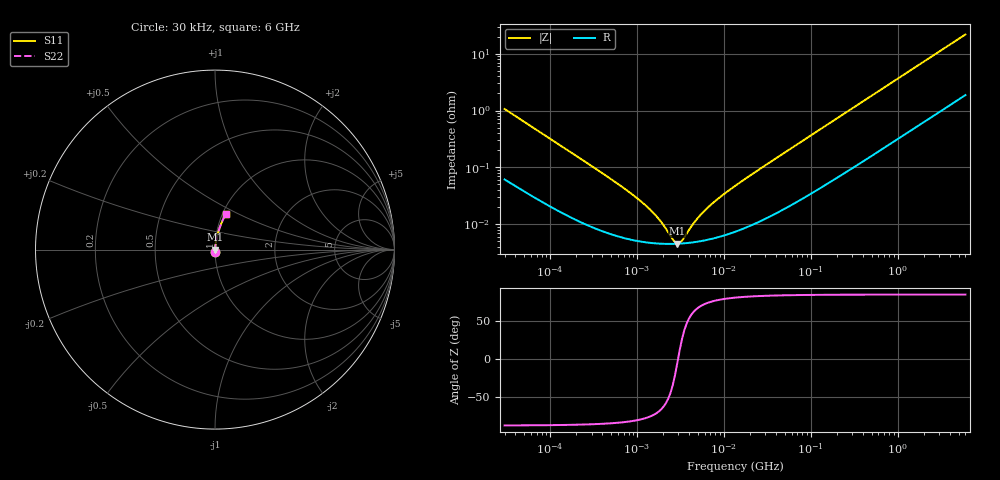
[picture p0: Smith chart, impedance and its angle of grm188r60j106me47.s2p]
!Murata Part Number:GRM188R60J106ME47
!These Parameters are Measured in Series Mode Connection
!  o--ll--o
!Port1  Port2
!  o------o
!Operation Temp=25[C], DC Bias Voltage=0[V]
!Freq. Start=30[kHz] Stop=6[GHz], 201[Steps]
# Hz S DB R 50
!Freq.[Hz] MagS11[dB] PhaseS11[DEG] MagS21[dB] PhaseS21[DEG] MagS12[dB] PhaseS12[DEG] MagS22[dB] PhaseS22[DEG]
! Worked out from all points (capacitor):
!   201 points, 30 kHz to 6 GHz, reference 50 ohm
!   read as one part in series: C = 4.99 uF near 31.89 kHz
!   lowest |Z| = 4.52 mohm at 2.917 MHz (marker M1)
!   series resonance near 2.964 MHz, so ESL is about 580 pH
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30000  -39.46 -86.1  -0.01 0.6  -0.01 0.6  -39.46 -86.1
238944  -57.52 -85.5  -0.00 0.1  -0.00 0.1  -57.52 -85.5
528279  -64.61 -83.7  -0.00 0.0  -0.00 0.0  -64.61 -83.7
914976  -69.91 -80.6  -0.00 0.0  -0.00 0.0  -69.91 -80.6
1319595  -74.00 -76.3  -0.00 0.0  -0.00 0.0  -74.00 -76.3
1790467  -78.29 -68.2  -0.00 0.0  -0.00 0.0  -78.29 -68.2
1903143  -79.31 -65.4  -0.00 0.0  -0.00 0.0  -79.31 -65.4
2022910  -80.41 -61.9  -0.00 0.0  -0.00 0.0  -80.41 -61.9
2917477  -86.90 -4.3  -0.00 0.0  -0.00 0.0  -86.90 -4.3
4207638  -80.88 58.5  -0.00 -0.0  -0.00 -0.0  -80.88 58.5
4472430  -79.75 62.3  -0.00 -0.0  -0.00 -0.0  -79.75 62.3
5371048  -76.80 69.8  -0.00 -0.0  -0.00 -0.0  -76.80 69.8
6856139  -73.58 75.1  -0.00 -0.0  -0.00 -0.0  -73.58 75.1
9302622  -70.18 78.7  -0.00 -0.0  -0.00 -0.0  -70.18 78.7
1.341641e7  -66.57 81.0  -0.00 -0.0  -0.00 -0.0  -66.57 81.0
2.625384e7  -60.46 83.1  -0.00 -0.1  -0.00 -0.1  -60.46 83.1
1.068591e8  -48.19 84.4  -0.00 -0.2  -0.00 -0.2  -48.19 84.4
8.007212e8  -30.72 83.4  -0.03 -1.7  -0.03 -1.7  -30.72 83.4
1.47412e9  -25.45 82.0  -0.05 -3.0  -0.05 -3.0  -25.45 82.0
2.553167e9  -20.73 79.8  -0.11 -5.3  -0.11 -5.3  -20.73 79.8
3.913949e9  -17.10 77.1  -0.19 -8.0  -0.19 -8.0  -17.10 77.1
6e9  -13.56 73.0  -0.36 -12.1  -0.36 -12.1  -13.56 73.0
